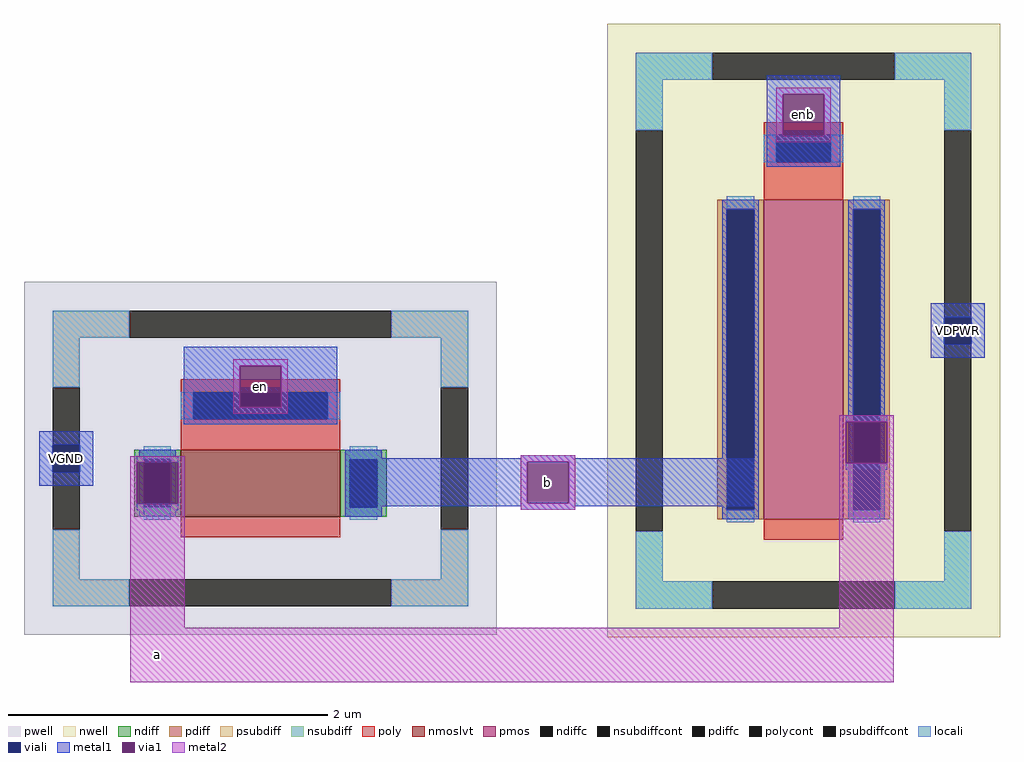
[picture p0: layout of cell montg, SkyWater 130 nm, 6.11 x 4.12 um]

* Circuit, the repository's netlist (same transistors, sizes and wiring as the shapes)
* montg: the analog-pin monitor switch (tile level), one per used analog pin: vref -> ua[0] (en = vref_mon_en) and
* iptat_mon -> ua[1] (en = iptat_mon_en). a = inner net, b = pad. Sized in results_m7 section 4 (tb_montg2).
.subckt montg a b en enb VDPWR VGND
XMN a en b VGND sky130_fd_pr__nfet_01v8_lvt L=1 W=0.42 nf=1 m=1
XMP b enb a VDPWR sky130_fd_pr__pfet_01v8 L=0.5 W=2 nf=1 m=1
.ends

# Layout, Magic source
magic
tech sky130A
magscale 1 2
<< viali >>
rect 1176 423 1210 457
rect 60 263 94 297
<< metal1 >>
rect 954 736 1046 760
rect 954 684 974 736
rect 1026 684 1046 736
rect 954 645 1046 684
rect 1159 457 1227 474
rect 1159 423 1176 457
rect 1210 423 1227 457
rect 224 396 416 420
rect 1159 406 1227 423
rect 224 344 294 396
rect 346 344 416 396
rect 224 323 416 344
rect 1053 326 1105 334
rect 43 297 111 314
rect 43 263 60 297
rect 94 263 111 297
rect 43 246 111 263
rect 165 275 217 283
rect 646 280 714 284
rect 165 215 217 223
rect 426 276 944 280
rect 426 224 654 276
rect 706 224 944 276
rect 1053 266 1105 274
rect 426 220 944 224
rect 646 216 714 220
<< via1 >>
rect 974 684 1026 736
rect 294 344 346 396
rect 165 223 217 275
rect 654 224 706 276
rect 1053 274 1105 326
<< metal2 >>
rect 966 736 1034 744
rect 966 684 974 736
rect 1026 684 1034 736
rect 966 676 1034 684
rect 286 396 354 404
rect 286 344 294 396
rect 346 344 354 396
rect 286 336 354 344
rect 1045 326 1113 334
rect 157 275 225 283
rect 157 223 165 275
rect 217 223 225 275
rect 157 68 225 223
rect 646 276 714 284
rect 646 224 654 276
rect 706 224 714 276
rect 646 216 714 224
rect 1045 274 1053 326
rect 1105 274 1113 326
rect 1045 68 1113 274
rect 157 0 1113 68
use sky130_fd_pr__nfet_01v8_lvt_9XTU62  XMN
transform 1 0 320 0 1 280
box -296 -221 296 221
use sky130_fd_pr__pfet_01v8_WBHNPA  XMP
transform 1 0 1000 0 1 440
box -246 -384 246 384
<< labels >>
rlabel metal2 157 0 225 68 0 a
port 1 nsew
rlabel metal2 646 216 714 284 0 b
port 2 nsew
rlabel metal2 286 336 354 404 0 en
port 3 nsew
rlabel metal2 966 676 1034 744 0 enb
port 4 nsew
rlabel metal1 1159 406 1227 474 0 VDPWR
port 5 nsew
rlabel metal1 43 246 111 314 0 VGND
port 6 nsew
<< end >>

# cell sky130_fd_pr__nfet_01v8_lvt_9XTU62: kit device sky130_fd_pr__nfet_01v8_lvt, w 0.42 l 1 m 1 nf 1 diffcov 100 polycov 100 guard 1 glc 1 grc 1 gtc 1 gbc 1 tbcov 100 rlcov 100 topc 1 botc 0 poverlap 0 doverlap 1 lmin 0.15 wmin 0.42 class mosfet compatible {sky130_fd_pr__nfet_01v8 sky130_fd_pr__nfet_01v8_lvt sky130_fd_bs_flash__special_sonosfet_star sky130_fd_pr__nfet_g5v0d10v5 sky130_fd_pr__nfet_05v0_nvt sky130_fd_pr__nfet_03v3_nvt} full_metal 1 conn_gates 0 viasrc 100 viadrn 100 viagate 100 viagb 0 viagr 0 viagl 0 viagt 0 doports 1

# cell sky130_fd_pr__pfet_01v8_WBHNPA: kit device sky130_fd_pr__pfet_01v8, w 2 l 0.5 m 1 nf 1 diffcov 100 polycov 100 guard 1 glc 1 grc 1 gtc 1 gbc 1 tbcov 100 rlcov 100 topc 1 botc 0 poverlap 0 doverlap 1 lmin 0.15 wmin 0.42 class mosfet compatible {sky130_fd_pr__pfet_01v8 sky130_fd_pr__pfet_01v8_lvt sky130_fd_pr__pfet_01v8_hvt sky130_fd_pr__pfet_g5v0d10v5} full_metal 1 conn_gates 0 viasrc 100 viadrn 100 viagate 100 viagb 0 viagr 0 viagl 0 viagt 0 doports 1
